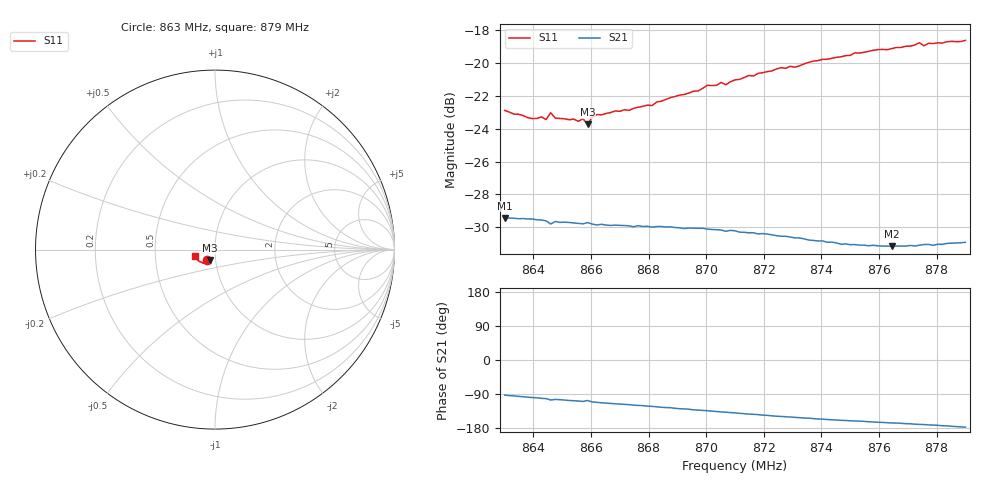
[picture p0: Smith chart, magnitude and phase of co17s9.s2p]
# HZ S RI R 50
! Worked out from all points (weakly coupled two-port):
!   101 points, 863 MHz to 879 MHz, reference 50 ohm
!   highest |S21| = -29.43 dB at 863 MHz (marker M1); lowest = -31.2 dB at 876.44 MHz (marker M2)
!   lowest |S11| = -23.7 dB at 865.88 MHz (marker M3), VSWR 1.14, Z = 46.9 - j5.47 ohm
!   |S11| at or under -10 dB: start of sweep to end of sweep
!   S12 and S22 are empty: the file has one direction only
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8.63e8  -0.0454 -0.0556  -0.00147 -0.0337  0 0  0 0
8.6396e8  -0.0396 -0.055  -0.00524 -0.0331  0 0  0 0
8.6444e8  -0.0391 -0.0547  -0.00681 -0.0324  0 0  0 0
8.646e8  -0.0424 -0.0565  -0.0087 -0.0312  0 0  0 0
8.6476e8  -0.0385 -0.056  -0.00797 -0.0319  0 0  0 0
8.6556e8  -0.0357 -0.0561  -0.0101 -0.0309  0 0  0 0
8.6572e8  -0.0358 -0.0575  -0.0107 -0.0305  0 0  0 0
8.6588e8  -0.0292 -0.0581  -0.00949 -0.0313  0 0  0 0
8.6604e8  -0.0349 -0.0589  -0.0114 -0.0303  0 0  0 0
8.662e8  -0.0363 -0.0595  -0.0119 -0.0299  0 0  0 0
8.6732e8  -0.0346 -0.0628  -0.0149 -0.0282  0 0  0 0
8.6844e8  -0.038 -0.0664  -0.0181 -0.0261  0 0  0 0
8.6972e8  -0.0426 -0.0703  -0.021 -0.0233  0 0  0 0
8.7004e8  -0.0452 -0.0726  -0.0216 -0.0225  0 0  0 0
8.7052e8  -0.0476 -0.0732  -0.0227 -0.0212  0 0  0 0
8.7068e8  -0.0462 -0.0723  -0.0227 -0.0207  0 0  0 0
8.71e8  -0.0502 -0.0733  -0.0235 -0.02  0 0  0 0
8.7372e8  -0.0694 -0.0739  -0.026 -0.0124  0 0  0 0
8.7644e8  -0.0927 -0.0603  -0.0269 -0.00661  0 0  0 0
8.774e8  -0.1018 -0.054  -0.0275 -0.00486  0 0  0 0
8.7756e8  -0.1006 -0.0512  -0.0276 -0.00469  0 0  0 0
8.79e8  -0.1107 -0.0382  -0.0284 -0.00142  0 0  0 0
